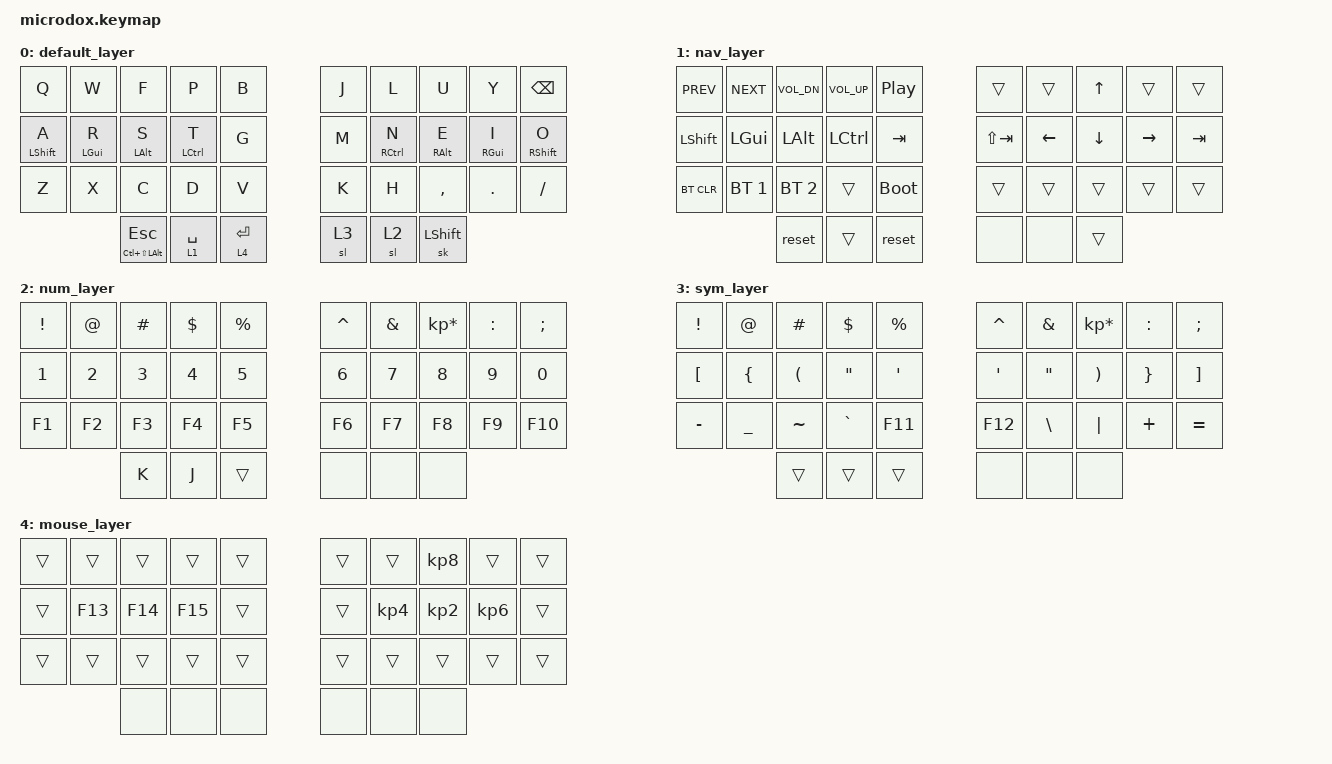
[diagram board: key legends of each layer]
/*
 * Copyright (c) 2020 The ZMK Contributors
 *
 * SPDX-License-Identifier: MIT
 */

#include <behaviors.dtsi>
#include <dt-bindings/zmk/keys.h>
#include <dt-bindings/zmk/bt.h>

&mt {
    tapping-term-ms = <300>;
    flavor = "tap-preferred";
};

// TODO: define layers here

/ {
        keymap {
                compatible = "zmk,keymap";

                default_layer {
                        bindings = <
&kp Q                &kp W       &kp F      &kp P       &kp B &kp J &kp L       &kp U      &kp Y      &kp BSPC
&mt LSHIFT A         &mt LGUI R  &mt LALT S &mt LCTRL T &kp G &kp M &mt RCTRL N &mt RALT E &mt RGUI I &mt RSHIFT O
&kp Z                &kp X       &kp C      &kp D       &kp V &kp K &kp H       &kp COMMA  &kp DOT    &kp FSLH
&mt LC(LS(LALT)) ESC &lt 1 SPACE &lt 4 RET    &sl 3       &sl 2 &sk LSHFT
                        >;
                };

                nav_layer {
                        bindings = <
&kp C_PREV    &kp C_NEXT      &kp C_VOL_DN    &kp C_VOL_UP &kp C_PP   &trans         &trans      &kp   UP &trans    &trans
&kp    LSHIFT &kp    LGUI     &kp    LALT     &kp    LCTRL &kp    TAB &kp    LS(TAB) &kp    LEFT &kp DOWN &kp RIGHT &kp TAB
&bt    BT_CLR &bt    BT_SEL 1 &bt    BT_SEL 2 &trans       &bootloader     &trans         &trans      &trans   &trans    &trans
&reset        &trans          &reset          &none       &none     &trans
                        >;
                };

                num_layer {
                        bindings = <
&kp EXCL &kp AT &kp    HASH &kp    DLLR &kp PRCNT &kp CARET &kp AMPS &kp KP_MULTIPLY &kp COLON &kp SEMI
&kp N1   &kp N2 &kp    N3   &kp    N4   &kp N5    &kp N6    &kp N7   &kp N8          &kp N9    &kp N0
&kp F1   &kp F2 &kp    F3   &kp    F4   &kp F5    &kp F6    &kp F7   &kp F8          &kp F9    &kp F10
&kp K    &kp J  &trans      &none      &none    &none
                        >;
                };

                sym_layer {
                        bindings = <
&kp    EXCL  &kp    AT         &kp    HASH  &kp DLLR  &kp PRCNT &kp CARET &kp AMPS &kp KP_MULTIPLY &kp COLON &kp SEMI
&kp    LBKT  &kp    LBRC       &kp    LPAR  &kp DQT   &kp SQT   &kp SQT   &kp DQT  &kp RPAR        &kp RBRC  &kp RBKT
&kp    MINUS &kp    UNDERSCORE &kp    TILDE &kp GRAVE &kp F11   &kp F12   &kp BSLH &kp PIPE        &kp PLUS  &kp EQUAL
&trans       &trans            &trans       &none    &none    &none
                        >;
                };

                mouse_layer {
                        bindings = <
&trans &trans  &trans  &trans  &trans &trans &trans    &kp KP_N8 &trans    &trans
&trans &kp F13 &kp F14 &kp F15 &trans &trans &kp KP_N4 &kp KP_N2 &kp KP_N6 &trans
&trans &trans  &trans  &trans  &trans &trans &trans    &trans    &trans    &trans
&none &none  &none  &none  &none &none
                        >;
                };
        };
};
